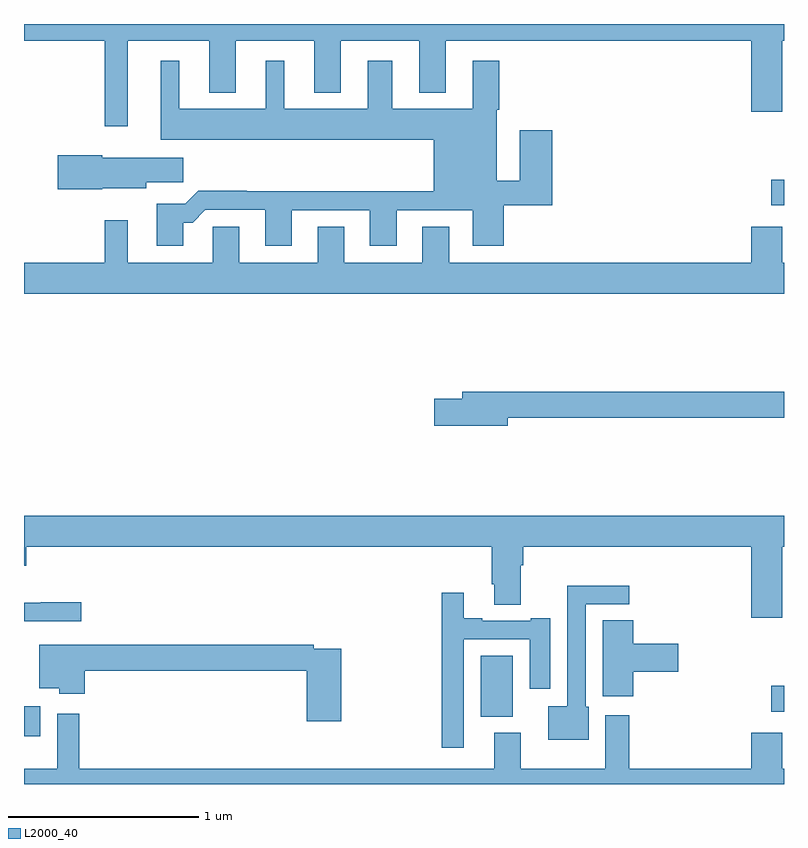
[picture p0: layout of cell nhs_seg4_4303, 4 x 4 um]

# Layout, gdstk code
import gdstk
lib = gdstk.Library(unit=1e-6, precision=1e-09)
def R(c, l, rs):  # rectangles x0, y0, x1, y1
    for r in rs: c.add(gdstk.rectangle(r[:2], r[2:], *l))
def P(c, l, *ps):  # polygons
    for p in ps: c.add(gdstk.Polygon(p, *l))
L2000_40 = (2000, 40)

nhs_seg4_4303 = lib.new_cell('nhs_seg4_4303')
R(nhs_seg4_4303, L2000_40, [(341,801.152,341.086,801.31), (343.403,801.254,343.573,801.574), (344.934,801.281,345,801.416), (344.934,803.945,345,804.08)])
P(nhs_seg4_4303, L2000_40, [(341.545,804.812),(341.975,804.812),(341.975,804.539),(342.115,804.539),(342.115,804.812),(342.527,804.812),(342.527,804.539),(342.667,804.539),(342.667,804.812),(343.079,804.812),(343.079,804.539),(343.219,804.539),(343.219,804.812),(344.828,804.812),(344.828,804.438),(344.992,804.438),(344.992,804.812),(345,804.812),(345,804.9),(341,804.9),(341,804.812),(341.424,804.812),(341.424,804.363),(341.545,804.363)],
  [(341.839,803.855),(341.888,803.855),(341.955,803.922),(342.269,803.922),(342.269,803.733),(342.409,803.733),(342.409,803.919),(342.821,803.919),(342.821,803.733),(342.961,803.733),(342.961,803.919),(343.361,803.919),(343.361,803.733),(343.526,803.733),(343.526,803.946),(343.781,803.946),(343.781,804.34),(343.61,804.34),(343.61,804.074),(343.489,804.074),(343.489,804.45),(343.502,804.45),(343.502,804.706),(343.361,804.706),(343.361,804.454),(342.937,804.454),(342.937,804.706),(342.809,804.706),(342.809,804.454),(342.37,804.454),(342.37,804.706),(342.272,804.706),(342.272,804.454),(341.818,804.454),(341.818,804.706),(341.72,804.706),(341.72,804.29),(343.157,804.29),(343.157,804.02),(342.173,804.02),(342.173,804.023),(341.918,804.023),(341.848,803.953),(341.699,803.953),(341.699,803.733),(341.839,803.733)],
  [(341.412,804.035),(341.644,804.035),(341.644,804.067),(341.839,804.067),(341.839,804.196),(341.412,804.196),(341.412,804.209),(341.178,804.209),(341.178,804.031),(341.412,804.031)],
  [(345,803.644),(344.992,803.644),(344.992,803.833),(344.828,803.833),(344.828,803.644),(343.237,803.644),(343.237,803.834),(343.097,803.834),(343.097,803.644),(342.685,803.644),(342.685,803.834),(342.545,803.834),(342.545,803.644),(342.133,803.644),(342.133,803.834),(341.994,803.834),(341.994,803.644),(341.545,803.644),(341.545,803.866),(341.424,803.866),(341.424,803.644),(341,803.644),(341,803.48),(345,803.48)],
  [(343.546,802.828),(345,802.828),(345,802.964),(343.307,802.964),(343.307,802.928),(343.158,802.928),(343.158,802.786),(343.546,802.786)],
  [(344.992,802.148),(345,802.148),(345,802.312),(341,802.312),(341,802.049),(341.012,802.049),(341.012,802.148),(343.463,802.148),(343.463,801.952),(343.475,801.952),(343.475,801.844),(343.615,801.844),(343.615,802.052),(343.628,802.052),(343.628,802.148),(344.828,802.148),(344.828,801.774),(344.992,801.774)],
  [(343.972,801.306),(343.956,801.306),(343.956,801.846),(344.185,801.846),(344.185,801.944),(343.86,801.944),(343.86,801.31),(343.76,801.31),(343.76,801.134),(343.972,801.134)],
  [(343.314,801.663),(343.661,801.663),(343.661,801.402),(343.771,801.402),(343.771,801.772),(343.667,801.772),(343.667,801.759),(343.411,801.759),(343.411,801.772),(343.315,801.772),(343.315,801.907),(343.198,801.907),(343.198,801.09),(343.314,801.09)],
  [(341.302,801.857),(341.089,801.857),(341.089,801.854),(341,801.854),(341,801.756),(341.302,801.756)],
  [(344.207,801.491),(344.443,801.491),(344.443,801.638),(344.207,801.638),(344.207,801.761),(344.045,801.761),(344.045,801.363),(344.207,801.363)],
  [(342.671,801.612),(342.524,801.612),(342.524,801.632),(341.304,801.632),(341.304,801.634),(341.081,801.634),(341.081,801.404),(341.186,801.404),(341.186,801.374),(341.321,801.374),(341.321,801.496),(342.488,801.496),(342.488,801.231),(342.671,801.231)],
  [(345,800.98),(344.992,800.98),(344.992,801.169),(344.828,801.169),(344.828,800.98),(344.186,800.98),(344.186,801.262),(344.06,801.262),(344.06,800.98),(343.615,800.98),(343.615,801.169),(343.475,801.169),(343.475,800.98),(341.291,800.98),(341.291,801.271),(341.175,801.271),(341.175,800.98),(341,800.98),(341,800.9),(345,800.9)])

lib.write_gds('nhs_seg4_4303.gds')
